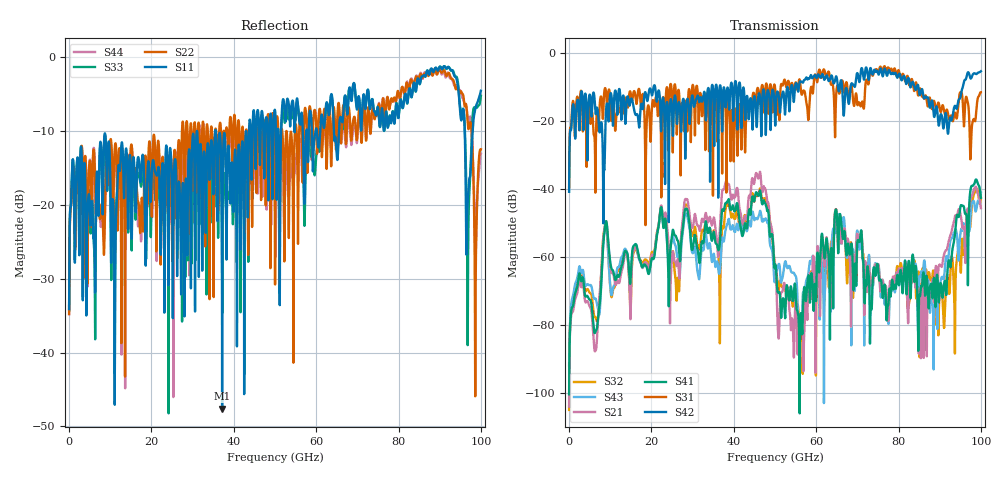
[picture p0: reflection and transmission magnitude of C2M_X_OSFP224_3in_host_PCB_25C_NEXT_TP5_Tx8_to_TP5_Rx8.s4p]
# GHz S RI R 45
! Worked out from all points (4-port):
!   4000 points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, 25 MHz to 100 GHz, reference 45 ohm
!   strongest paths, dB at 25 MHz, 25.02 GHz, 50.02 GHz, 75.03 GHz, 100 GHz:
!     S42: -40.9, -17.0, -20.4, -5.9, -5.4
!     S31: -39.7, -14.6, -10.1, -5.9, -11.6
!     S41: -100.5, -53.3, -62.6, -63.1, -42.6
!     S21: -104.1, -60.1, -62.2, -62.4, -45.7
!     S43: -91.9, -54.6, -66.7, -62.6, -41.1
!     S32: -105.1, -59.2, -63.5, -62.9, -42.7
!   lowest |S11| = -47.6 dB at 37.17 GHz (marker M1), VSWR 1.01, Z = 45.4 - j0.133 ohm
!   |S11| at or under -10 dB: start of sweep to 31.03 GHz; 31.1 GHz to 35.5 GHz (4.396 GHz wide, 13.2 % of centre); 35.65 GHz to 42.96 GHz (7.31 GHz wide, 18.6 % of centre) (the widest 3 of 19)
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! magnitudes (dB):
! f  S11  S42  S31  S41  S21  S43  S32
! 25 MHz  -34.1  -40.9  -39.7  -100.5  -104.1  -91.9  -105.1
! 37.17 GHz  -47.6  -23.1  -35.5  -46.3  -40.9  -54.5  -51.4
! 46.3 GHz  -13.9  -12.4  -14.3  -40.7  -35.2  -46.8  -40.1
! 55.9 GHz  -8.6  -9.0  -7.8  -85.1  -79.2  -83.5  -78.2
! 64.78 GHz  -11.4  -7.0  -15.0  -46.1  -47.8  -52.1  -46.0
! 91.03 GHz  -1.2  -21.6  -16.8  -68.3  -59.5  -66.3  -80.8
! 100 GHz  -4.5  -5.4  -11.6  -42.6  -45.7  -41.1  -42.7
